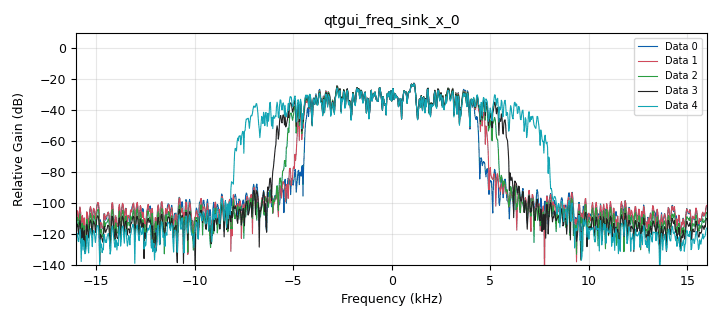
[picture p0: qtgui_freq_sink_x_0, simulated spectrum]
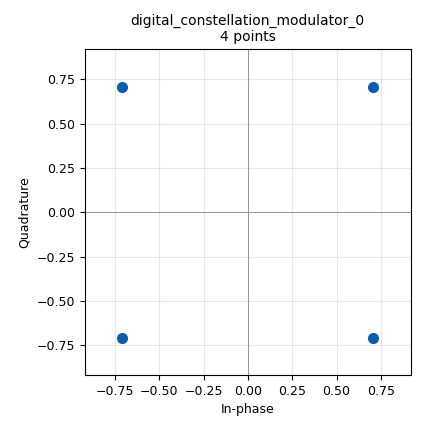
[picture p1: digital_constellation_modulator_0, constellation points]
options:
  parameters:
    author: engineerang
    generate_options: qt_gui
    id: p1_tas
    output_language: python
    title: Not titled yet
  states: {}

blocks:
- name: qpsk_const
  id: variable_constellation_rect
  parameters:
    const_points: '[-1-1j, -1+1j, 1+1j, 1-1j]'
    imag_sect: '2'
    real_sect: '2'
    rot_sym: '4'
    sym_map: '[0, 1, 3, 2]'
    w_imag_sect: '1'
    w_real_sect: '1'
  states: {}
- name: samp_rate
  id: variable
  parameters:
    value: '32000'
  states: {}
- name: analog_random_source_x_0
  id: analog_random_source_x
  parameters:
    max: '255'
    min: '0'
    num_samps: '1000'
    repeat: 'True'
    type: byte
  states: {}
- name: blocks_throttle_0
  id: blocks_throttle
  parameters:
    samples_per_second: samp_rate
    type: complex
  states: {}
- name: digital_constellation_modulator_0
  id: digital_constellation_modulator
  parameters:
    constellation: qpsk_const
    differential: 'True'
    excess_bw: '.1'
    samples_per_symbol: '4'
  states: {}
- name: digital_constellation_modulator_0_0
  id: digital_constellation_modulator
  parameters:
    constellation: qpsk_const
    differential: 'True'
    excess_bw: '.22'
    samples_per_symbol: '4'
  states: {}
- name: digital_constellation_modulator_0_1
  id: digital_constellation_modulator
  parameters:
    constellation: qpsk_const
    differential: 'True'
    excess_bw: '0.35'
    samples_per_symbol: '4'
  states: {}
- name: digital_constellation_modulator_0_2
  id: digital_constellation_modulator
  parameters:
    constellation: qpsk_const
    differential: 'True'
    excess_bw: '1'
    samples_per_symbol: '4'
  states: {}
- name: digital_constellation_modulator_0_2_0
  id: digital_constellation_modulator
  parameters:
    constellation: qpsk_const
    differential: 'True'
    excess_bw: '0.5'
    samples_per_symbol: '4'
  states: {}
- name: qtgui_freq_sink_x_0
  id: qtgui_freq_sink_x
  parameters:
    bw: samp_rate
    fc: '0'
    fftsize: '1024'
    nconnections: '5'
    type: complex
  states: {}

connections:
- [analog_random_source_x_0, '0', digital_constellation_modulator_0, '0']
- [analog_random_source_x_0, '0', digital_constellation_modulator_0_0, '0']
- [analog_random_source_x_0, '0', digital_constellation_modulator_0_1, '0']
- [analog_random_source_x_0, '0', digital_constellation_modulator_0_2, '0']
- [analog_random_source_x_0, '0', digital_constellation_modulator_0_2_0, '0']
- [blocks_throttle_0, '0', qtgui_freq_sink_x_0, '0']
- [digital_constellation_modulator_0, '0', blocks_throttle_0, '0']
- [digital_constellation_modulator_0_0, '0', qtgui_freq_sink_x_0, '1']
- [digital_constellation_modulator_0_1, '0', qtgui_freq_sink_x_0, '2']
- [digital_constellation_modulator_0_2, '0', qtgui_freq_sink_x_0, '4']
- [digital_constellation_modulator_0_2_0, '0', qtgui_freq_sink_x_0, '3']

metadata:
  file_format: 1
